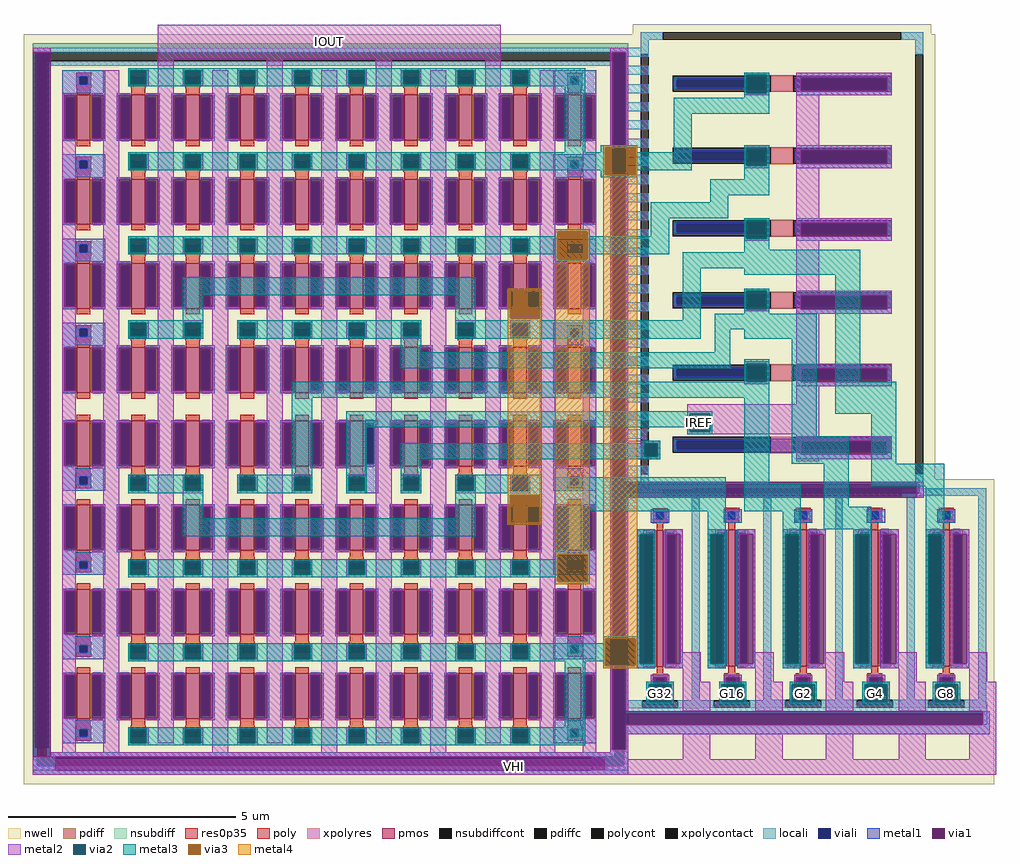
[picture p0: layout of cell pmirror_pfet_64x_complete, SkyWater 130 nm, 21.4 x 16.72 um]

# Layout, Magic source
magic
tech sky130B
magscale 1 2
<< nwell >>
rect 2700 3170 4010 3300
rect 2920 3160 4010 3170
rect 2660 1550 4010 3160
rect 2660 1430 2710 1550
rect 2660 1400 3130 1430
rect 3290 1400 4010 1550
rect 2660 1340 4010 1400
rect 2660 730 4270 1340
rect 2700 0 4270 730
<< locali >>
rect 2660 3200 2750 3240
rect 2660 3120 2750 3160
rect 2650 3040 2750 3080
rect 2650 2960 2750 3000
rect 2650 2880 2750 2920
rect 2650 2800 2750 2840
rect 2650 2720 2750 2760
rect 2650 2640 2750 2680
rect 2650 2560 2750 2600
rect 2650 2480 2750 2520
rect 2650 2400 2750 2440
rect 2650 2320 2750 2360
rect 2650 2240 2750 2280
rect 2650 2160 2750 2200
rect 2650 2080 2750 2120
rect 2650 2000 2750 2040
rect 2650 1920 2750 1960
rect 2650 1840 2750 1880
rect 2650 1760 2750 1800
rect 2650 1680 2750 1720
rect 2650 1600 2750 1640
rect 2650 1550 2750 1560
rect 2650 1520 2740 1550
rect 2720 1490 2800 1510
rect 2720 1480 2740 1490
rect 2650 1450 2740 1480
rect 2780 1450 2800 1490
rect 2650 1440 2800 1450
rect 2720 1430 2800 1440
rect 2650 1360 2750 1400
rect 2650 1330 2720 1360
rect 2650 1320 3960 1330
rect 3940 1280 3960 1320
rect 2650 1260 3960 1280
rect 2660 320 4240 360
rect 2650 310 4240 320
rect 4220 260 4240 310
rect 2580 150 2590 160
rect 2650 150 2660 160
rect 2580 140 2660 150
rect 2560 60 2660 140
<< viali >>
rect 50 160 110 3220
rect 2590 1320 2650 3220
rect 2740 1450 2780 1490
rect 2590 1280 3940 1320
rect 2590 310 2650 1280
rect 2590 260 4220 310
rect 2590 150 2650 260
<< metal1 >>
rect 40 3220 120 3240
rect 2580 3220 2660 3240
rect 2580 150 2590 3220
rect 2650 1330 2660 3220
rect 3170 3120 3280 3130
rect 3170 3040 3180 3120
rect 3270 3040 3280 3120
rect 3170 3030 3280 3040
rect 3400 3110 3820 3130
rect 3400 3050 3420 3110
rect 3800 3050 3820 3110
rect 3400 3030 3820 3050
rect 3170 2800 3280 2810
rect 3170 2720 3180 2800
rect 3270 2720 3280 2800
rect 3170 2710 3280 2720
rect 3400 2790 3820 2810
rect 3400 2730 3420 2790
rect 3800 2730 3820 2790
rect 3400 2710 3820 2730
rect 3170 2480 3280 2490
rect 3170 2400 3180 2480
rect 3270 2400 3280 2480
rect 3170 2390 3280 2400
rect 3400 2470 3820 2490
rect 3400 2410 3420 2470
rect 3800 2410 3820 2470
rect 3400 2390 3820 2410
rect 3170 2170 3280 2180
rect 3170 2090 3180 2170
rect 3270 2090 3280 2170
rect 3170 2080 3280 2090
rect 3400 2150 3820 2170
rect 3400 2090 3420 2150
rect 3800 2090 3820 2150
rect 3400 2070 3820 2090
rect 3170 1850 3280 1860
rect 3170 1770 3180 1850
rect 3270 1770 3280 1850
rect 3170 1760 3280 1770
rect 3400 1830 3820 1850
rect 3400 1770 3420 1830
rect 3800 1770 3820 1830
rect 3400 1750 3820 1770
rect 3400 1520 3820 1530
rect 3280 1510 3820 1520
rect 2720 1500 2800 1510
rect 2720 1440 2730 1500
rect 2790 1440 2800 1500
rect 3280 1460 3420 1510
rect 2720 1430 2800 1440
rect 3400 1450 3420 1460
rect 3800 1450 3820 1510
rect 3400 1430 3820 1450
rect 3930 1320 3960 1330
rect 3940 1280 3960 1320
rect 3930 1260 3960 1280
rect 2650 320 2660 1260
rect 2760 1150 2840 1210
rect 3080 1150 3160 1210
rect 3390 1150 3470 1210
rect 3710 1150 3790 1210
rect 4020 1150 4100 1210
rect 2700 1100 2780 1120
rect 2700 530 2710 1100
rect 2770 530 2780 1100
rect 2700 510 2780 530
rect 2820 1100 2900 1120
rect 2820 530 2830 1100
rect 2890 530 2900 1100
rect 2820 510 2900 530
rect 3010 1100 3090 1120
rect 3010 530 3020 1100
rect 3080 530 3090 1100
rect 3010 510 3090 530
rect 3140 1100 3220 1120
rect 3140 530 3150 1100
rect 3210 530 3220 1100
rect 3140 510 3220 530
rect 3340 1100 3420 1120
rect 3340 530 3350 1100
rect 3410 530 3420 1100
rect 3340 510 3420 530
rect 3450 1100 3530 1120
rect 3450 530 3460 1100
rect 3520 530 3530 1100
rect 3450 510 3530 530
rect 3650 1100 3730 1120
rect 3650 530 3660 1100
rect 3720 530 3730 1100
rect 3650 510 3730 530
rect 3770 1100 3850 1120
rect 3770 530 3780 1100
rect 3840 530 3850 1100
rect 3770 510 3850 530
rect 3970 1100 4040 1120
rect 3970 530 3980 1100
rect 3970 510 4040 530
rect 4080 1100 4160 1120
rect 4080 530 4090 1100
rect 4150 530 4160 1100
rect 4080 510 4160 530
rect 2760 470 2840 480
rect 2760 400 2770 470
rect 2830 400 2840 470
rect 2760 390 2840 400
rect 3080 470 3160 480
rect 3080 400 3090 470
rect 3150 400 3160 470
rect 3080 390 3160 400
rect 3390 470 3470 480
rect 3390 400 3400 470
rect 3460 400 3470 470
rect 3390 390 3470 400
rect 3710 470 3790 480
rect 3710 400 3720 470
rect 3780 400 3790 470
rect 3710 390 3790 400
rect 4020 470 4100 480
rect 4020 400 4030 470
rect 4090 400 4100 470
rect 4020 390 4100 400
rect 4220 260 4250 320
rect 2650 220 4250 260
rect 2650 150 2660 220
rect 2580 140 2660 150
rect 40 40 120 120
rect 2500 60 2660 140
rect 2580 40 2660 60
<< via1 >>
rect 40 160 50 3220
rect 50 160 110 3220
rect 110 160 120 3220
rect 40 120 120 160
rect 2590 1320 2650 3220
rect 3180 3040 3270 3120
rect 3420 3050 3800 3110
rect 3180 2720 3270 2800
rect 3420 2730 3800 2790
rect 3180 2400 3270 2480
rect 3420 2410 3800 2470
rect 3180 2090 3270 2170
rect 3420 2090 3800 2150
rect 3180 1770 3270 1850
rect 3420 1770 3800 1830
rect 2730 1490 2790 1500
rect 2730 1450 2740 1490
rect 2740 1450 2780 1490
rect 2780 1450 2790 1490
rect 2730 1440 2790 1450
rect 3420 1450 3800 1510
rect 2650 1320 3930 1330
rect 2590 1280 3930 1320
rect 2590 310 2650 1280
rect 2650 1260 3930 1280
rect 2710 530 2770 1100
rect 2830 530 2890 1100
rect 3020 530 3080 1100
rect 3150 530 3210 1100
rect 3350 530 3410 1100
rect 3460 530 3520 1100
rect 3660 530 3720 1100
rect 3780 530 3840 1100
rect 3980 530 4040 1100
rect 4090 530 4150 1100
rect 2770 400 2830 470
rect 3090 400 3150 470
rect 3400 400 3460 470
rect 3720 400 3780 470
rect 4030 400 4090 470
rect 2650 310 4220 320
rect 2590 260 4220 310
rect 2590 150 2650 260
<< metal2 >>
rect 40 3220 120 3240
rect 590 3190 2100 3340
rect 2580 3220 2660 3240
rect 2580 150 2590 3220
rect 2650 1510 2660 3220
rect 3170 3120 3280 3130
rect 3170 3040 3180 3120
rect 3270 3040 3280 3120
rect 3170 3030 3280 3040
rect 3400 3110 3820 3130
rect 3400 3050 3420 3110
rect 3800 3050 3820 3110
rect 3400 3030 3820 3050
rect 3400 2810 3500 3030
rect 3170 2800 3280 2810
rect 3170 2720 3180 2800
rect 3270 2720 3280 2800
rect 3170 2710 3280 2720
rect 3400 2790 3820 2810
rect 3400 2730 3420 2790
rect 3800 2730 3820 2790
rect 3400 2710 3820 2730
rect 3400 2490 3500 2710
rect 3170 2480 3280 2490
rect 3170 2400 3180 2480
rect 3270 2400 3280 2480
rect 3170 2390 3280 2400
rect 3400 2470 3820 2490
rect 3400 2410 3420 2470
rect 3800 2410 3820 2470
rect 3400 2390 3820 2410
rect 3170 2170 3280 2180
rect 3170 2090 3180 2170
rect 3270 2090 3280 2170
rect 3170 2080 3280 2090
rect 3400 2170 3500 2390
rect 3400 2150 3820 2170
rect 3400 2090 3420 2150
rect 3800 2090 3820 2150
rect 3400 2070 3820 2090
rect 3170 1850 3280 1860
rect 3170 1770 3180 1850
rect 3270 1770 3280 1850
rect 3170 1760 3280 1770
rect 3400 1850 3500 2070
rect 3400 1830 3820 1850
rect 3400 1770 3420 1830
rect 3800 1770 3820 1830
rect 3400 1750 3820 1770
rect 3400 1670 3500 1750
rect 2920 1630 3500 1670
rect 2920 1550 2930 1630
rect 3020 1550 3500 1630
rect 2920 1540 3500 1550
rect 3400 1530 3500 1540
rect 3400 1510 3820 1530
rect 2650 1500 2800 1510
rect 2650 1440 2730 1500
rect 2790 1440 2800 1500
rect 2650 1430 2800 1440
rect 3400 1450 3420 1510
rect 3800 1450 3820 1510
rect 3400 1430 3820 1450
rect 2650 1330 2660 1430
rect 3400 1420 3500 1430
rect 3930 1260 3960 1330
rect 2650 320 2660 1260
rect 2700 1100 2780 1120
rect 2700 530 2710 1100
rect 2770 530 2780 1100
rect 2700 510 2780 530
rect 2820 1100 2900 1120
rect 2820 530 2830 1100
rect 2890 580 2900 1100
rect 3010 1100 3090 1120
rect 2890 530 2980 580
rect 2820 510 2980 530
rect 3010 530 3020 1100
rect 3080 530 3090 1100
rect 3010 510 3090 530
rect 3140 1100 3220 1120
rect 3140 530 3150 1100
rect 3210 580 3220 1100
rect 3340 1100 3420 1120
rect 3210 530 3300 580
rect 3140 510 3300 530
rect 3340 530 3350 1100
rect 3410 530 3420 1100
rect 3340 510 3420 530
rect 3450 1100 3530 1120
rect 3450 530 3460 1100
rect 3520 580 3530 1100
rect 3650 1100 3730 1120
rect 3520 530 3610 580
rect 3450 510 3610 530
rect 3650 530 3660 1100
rect 3720 530 3730 1100
rect 3650 510 3730 530
rect 3770 1100 3850 1120
rect 3770 530 3780 1100
rect 3840 580 3850 1100
rect 3970 1100 4050 1120
rect 3840 530 3930 580
rect 3770 510 3930 530
rect 3970 530 3980 1100
rect 4040 530 4050 1100
rect 3970 510 4050 530
rect 4080 1100 4160 1120
rect 4080 530 4090 1100
rect 4150 580 4160 1100
rect 4150 530 4240 580
rect 4080 510 4240 530
rect 2760 470 2840 480
rect 2760 450 2770 470
rect 2740 440 2770 450
rect 2830 450 2840 470
rect 2900 450 2980 510
rect 3080 470 3160 480
rect 3080 450 3090 470
rect 2830 440 2860 450
rect 2740 360 2750 440
rect 2850 360 2860 440
rect 2740 350 2860 360
rect 2900 320 3020 450
rect 3060 440 3090 450
rect 3150 450 3160 470
rect 3220 450 3300 510
rect 3390 470 3470 480
rect 3390 450 3400 470
rect 3150 440 3180 450
rect 3060 360 3070 440
rect 3170 360 3180 440
rect 3060 350 3180 360
rect 3220 320 3340 450
rect 3370 440 3400 450
rect 3460 450 3470 470
rect 3530 450 3610 510
rect 3710 470 3790 480
rect 3710 450 3720 470
rect 3460 440 3490 450
rect 3370 360 3380 440
rect 3480 360 3490 440
rect 3370 350 3490 360
rect 3530 320 3650 450
rect 3690 440 3720 450
rect 3780 450 3790 470
rect 3850 450 3930 510
rect 4020 470 4100 480
rect 4020 450 4030 470
rect 3780 440 3810 450
rect 3690 360 3700 440
rect 3800 360 3810 440
rect 3690 350 3810 360
rect 3850 320 3970 450
rect 4000 440 4030 450
rect 4090 450 4100 470
rect 4160 450 4240 510
rect 4090 440 4120 450
rect 4000 360 4010 440
rect 4110 360 4120 440
rect 4000 350 4120 360
rect 4160 320 4280 450
rect 4220 260 4280 320
rect 2650 220 4280 260
rect 2650 150 2660 220
rect 2580 140 2660 150
rect 40 110 120 120
rect 2500 110 2660 140
rect 2900 110 3020 220
rect 3220 110 3340 220
rect 3530 110 3650 220
rect 3850 110 3970 220
rect 4160 110 4280 220
rect 40 40 4280 110
<< via2 >>
rect 3180 3040 3270 3120
rect 3180 2720 3270 2800
rect 3180 2400 3270 2480
rect 3180 2090 3270 2170
rect 3180 1770 3270 1850
rect 2930 1550 3020 1630
rect 2730 1440 2790 1500
rect 2710 530 2770 1100
rect 3020 530 3080 1100
rect 3350 530 3410 1100
rect 3660 530 3720 1100
rect 3980 530 4040 1100
rect 2750 400 2770 440
rect 2770 400 2830 440
rect 2830 400 2850 440
rect 2750 360 2850 400
rect 3070 400 3090 440
rect 3090 400 3150 440
rect 3150 400 3170 440
rect 3070 360 3170 400
rect 3380 400 3400 440
rect 3400 400 3460 440
rect 3460 400 3480 440
rect 3380 360 3480 400
rect 3700 400 3720 440
rect 3720 400 3780 440
rect 3780 400 3800 440
rect 3700 360 3800 400
rect 4010 400 4030 440
rect 4030 400 4090 440
rect 4090 400 4110 440
rect 4010 360 4110 400
<< metal3 >>
rect 3170 3120 3280 3130
rect 3170 3040 3180 3120
rect 3270 3040 3280 3120
rect 3170 3020 3280 3040
rect 2860 2950 3280 3020
rect 2860 2780 2940 2950
rect 2710 2710 2940 2780
rect 2700 2700 2940 2710
rect 3170 2800 3280 2810
rect 3170 2720 3180 2800
rect 3270 2720 3280 2800
rect 3170 2660 3280 2720
rect 3020 2590 3280 2660
rect 3020 2560 3100 2590
rect 2760 2490 3100 2560
rect 2760 2410 2840 2490
rect 2710 2330 2840 2410
rect 3170 2480 3280 2490
rect 3170 2400 3180 2480
rect 3270 2400 3280 2480
rect 3170 2350 3280 2400
rect 3170 2340 3680 2350
rect 2900 2270 3680 2340
rect 2900 2040 2980 2270
rect 3170 2240 3680 2270
rect 3170 2170 3280 2180
rect 3170 2090 3180 2170
rect 3270 2090 3280 2170
rect 3170 2070 3280 2090
rect 2710 1960 2980 2040
rect 3040 2000 3490 2070
rect 3040 1900 3110 2000
rect 3170 1960 3490 2000
rect 2710 1830 3110 1900
rect 3170 1850 3280 1870
rect 3170 1770 3180 1850
rect 3270 1770 3280 1850
rect 2710 1700 3280 1770
rect 2710 1630 3030 1640
rect 2710 1570 2930 1630
rect 2920 1550 2930 1570
rect 3020 1550 3030 1630
rect 2920 1540 3030 1550
rect 2720 1500 2800 1510
rect 2720 1440 2730 1500
rect 2790 1440 2800 1500
rect 2720 1430 2800 1440
rect 2340 1200 3090 1350
rect 3170 1320 3280 1700
rect 3380 1530 3490 1960
rect 3570 1770 3680 2240
rect 3570 1630 3840 1770
rect 3380 1410 3630 1530
rect 3170 1200 3420 1320
rect 2340 880 2490 1200
rect 2700 1100 2780 1120
rect 2700 650 2710 1100
rect 2550 530 2710 650
rect 2770 530 2780 1100
rect 2550 510 2780 530
rect 3010 1100 3090 1200
rect 3010 530 3020 1100
rect 3080 530 3090 1100
rect 3010 510 3090 530
rect 3340 1100 3420 1200
rect 3520 1220 3630 1410
rect 3730 1410 3840 1630
rect 3730 1310 4050 1410
rect 3520 1120 3730 1220
rect 3340 530 3350 1100
rect 3410 530 3420 1100
rect 3340 510 3420 530
rect 3650 1100 3730 1120
rect 3650 530 3660 1100
rect 3720 530 3730 1100
rect 3650 510 3730 530
rect 3970 1100 4050 1310
rect 3970 530 3980 1100
rect 4040 530 4050 1100
rect 3970 510 4050 530
rect 2740 440 2860 450
rect 2740 360 2750 440
rect 2850 360 2860 440
rect 2740 350 2860 360
rect 3060 440 3180 450
rect 3060 360 3070 440
rect 3170 360 3180 440
rect 3060 350 3180 360
rect 3370 440 3490 450
rect 3370 360 3380 440
rect 3480 360 3490 440
rect 3370 350 3490 360
rect 3690 440 3810 450
rect 3690 360 3700 440
rect 3800 360 3810 440
rect 3690 350 3810 360
rect 4000 440 4120 450
rect 4000 360 4010 440
rect 4110 360 4120 440
rect 4000 350 4120 360
use pmirror_pfet_64x_flat  pmirror_pfet_64x_flat_0
transform 1 0 140 0 1 920
box -140 -920 2590 2420
use sky130_fd_pr__pfet_01v8_Y3CBJH  sky130_fd_pr__pfet_01v8_Y3CBJH_0
transform 1 0 2800 0 1 817
box -211 -519 211 519
use sky130_fd_pr__pfet_01v8_Y3CBJH  sky130_fd_pr__pfet_01v8_Y3CBJH_1
transform 1 0 3115 0 1 818
box -211 -519 211 519
use sky130_fd_pr__pfet_01v8_Y3CBJH  sky130_fd_pr__pfet_01v8_Y3CBJH_2
transform 1 0 3430 0 1 819
box -211 -519 211 519
use sky130_fd_pr__pfet_01v8_Y3CBJH  sky130_fd_pr__pfet_01v8_Y3CBJH_3
transform 1 0 3745 0 1 819
box -211 -519 211 519
use sky130_fd_pr__pfet_01v8_Y3CBJH  sky130_fd_pr__pfet_01v8_Y3CBJH_4
transform 1 0 4060 0 1 819
box -211 -519 211 519
use sky130_fd_pr__res_xhigh_po_0p35_M33Z8U  sky130_fd_pr__res_xhigh_po_0p35_M33Z8U_0
transform 0 1 3337 -1 0 2287
box -1057 -657 1057 657
<< labels >>
rlabel metal3 2740 350 2860 450 1 G32
rlabel metal3 3060 350 3180 450 1 G16
rlabel metal3 3370 350 3490 450 1 G2
rlabel metal3 3690 350 3810 450 1 G4
rlabel metal3 4000 350 4120 450 1 G8
rlabel metal2 40 40 4280 110 1 VHI
rlabel metal2 590 3190 2100 3340 1 IOUT
rlabel metal3 2920 1540 3030 1640 1 IREF
<< end >>

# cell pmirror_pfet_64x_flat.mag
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
# cell sky130_fd_pr__pfet_01v8_Y3CBJH: kit device sky130_fd_pr__pfet_01v8, w 3 l 0.15 m 1 nf 1 diffcov 100 polycov 100 guard 1 glc 0 grc 0 gtc 0 gbc 1 tbcov 100 rlcov 100 topc 1 botc 1 poverlap 0 doverlap 1 lmin 0.15 wmin 0.42 compatible {sky130_fd_pr__pfet_01v8 sky130_fd_pr__pfet_01v8_lvt sky130_fd_pr__pfet_01v8_hvt sky130_fd_pr__pfet_g5v0d10v5} full_metal 1 viasrc 100 viadrn 100 viagate 100 viagb 0 viagr 0 viagl 0 viagt 0

# cell sky130_fd_pr__res_xhigh_po_0p35_M33Z8U: kit device sky130_fd_pr__res_xhigh_po_0p35, w 0.350 l 0.50 m 1 nx 6 wmin 0.350 lmin 0.50 rho 2000 val 3.932k dummy 0 dw 0.0 term 188.2 sterm 0.0 caplen 0 wmax 0.350 guard 1 glc 1 grc 1 gtc 1 gbc 1 compatible {sky130_fd_pr__res_xhigh_po_0p35 sky130_fd_pr__res_xhigh_po_0p69 sky130_fd_pr__res_xhigh_po_1p41 sky130_fd_pr__res_xhigh_po_2p85 sky130_fd_pr__res_xhigh_po_5p73} full_metal 1 n_guard 1 hv_guard 0 vias 1 viagb 0 viagt 0 viagl 0 viagr 0
